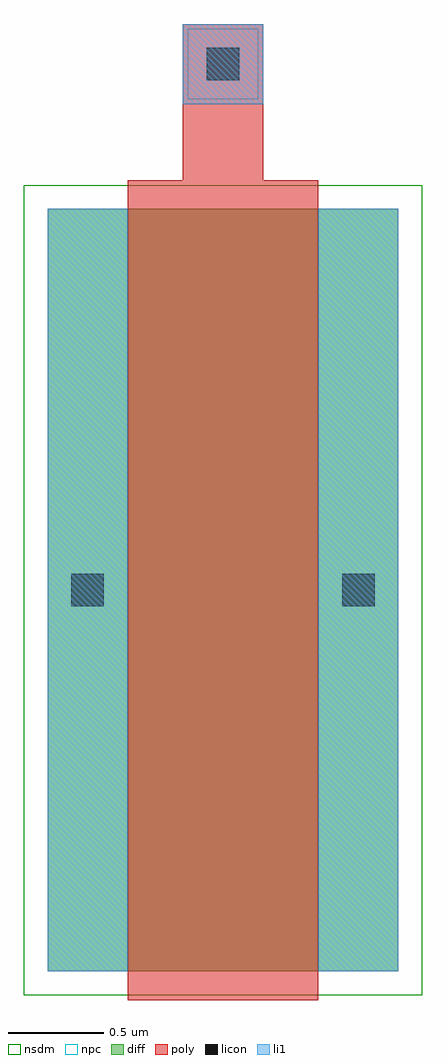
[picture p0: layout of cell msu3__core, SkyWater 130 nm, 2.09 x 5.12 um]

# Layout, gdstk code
import gdstk
lib = gdstk.Library(unit=1e-6, precision=1e-09)
def R(c, l, rs):  # rectangles x0, y0, x1, y1
    for r in rs: c.add(gdstk.rectangle(r[:2], r[2:], *l))
diff = (65, 20)
poly = (66, 20)
licon = (66, 44)
li1 = (67, 20)
nsdm = (93, 44)
npc = (95, 20)

msu3__core = lib.new_cell('msu3__core')
R(msu3__core, diff, [(0,0,1.84,4)])
R(msu3__core, poly, [(0.42,-0.15,1.42,4), (0.42,4,1.42,4.15), (0.42,4,1.42,4.15), (0.71,4.15,1.13,4.97)])
R(msu3__core, licon, [(0.125,1.915,0.295,2.085), (1.545,1.915,1.715,2.085), (0.835,4.675,1.005,4.845)])
R(msu3__core, li1, [(0,0,0.42,4), (1.42,0,1.84,4), (0.71,4.55,1.13,4.97)])
R(msu3__core, nsdm, [(-0.125,-0.125,1.965,4.125)])
R(msu3__core, npc, [(0.735,4.575,1.105,4.945)])

lib.write_gds('msu3__core.gds')
